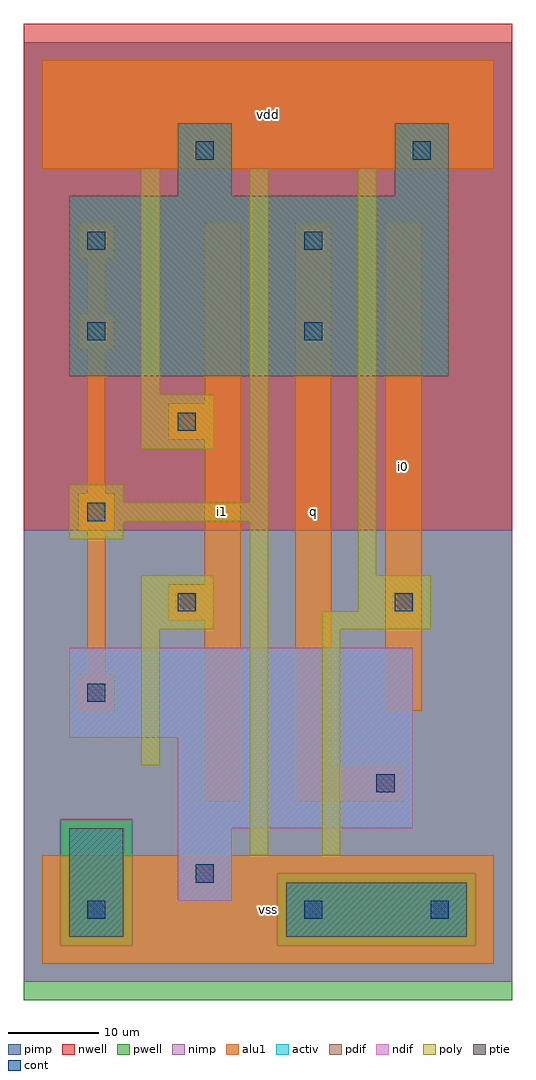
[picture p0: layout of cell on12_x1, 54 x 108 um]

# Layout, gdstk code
import gdstk
lib = gdstk.Library(unit=1e-6, precision=1e-09)
def R(c, l, rs):  # rectangles x0, y0, x1, y1
    for r in rs: c.add(gdstk.rectangle(r[:2], r[2:], *l))
def A(c, l, x, y, w, h, nx, ny, dx, dy):  # array of equal rectangles
    R(c, l, [(x+i*dx, y+j*dy, x+i*dx+w, y+j*dy+h) for i in range(nx) for j in range(ny)])
ndif = (3, 0)
pdif = (4, 0)
ptie = (6, 0)
cont = (25, 0)
pwell = (41, 0)
nwell = (42, 0)
activ = (43, 0)
pimp = (44, 0)
nimp = (45, 0)
poly = (46, 0)
alu1 = (49, 0)

on12_x1 = lib.new_cell('on12_x1')
R(on12_x1, ndif, [(15,7,21,15), (15,15,41,25), (3,25,41,35)])
R(on12_x1, pdif, [(3,65,45,85), (15,85,21,93), (39,85,45,93)])
R(on12_x1, ptie, [(3,3,9,15), (27,3,47,9)])
A(on12_x1, cont, 5, 29, 2, 2, 1, 3, 0, 20)
R(on12_x1, cont, [(5,5,7,7), (29,5,31,7), (43,5,45,7), (17,9,19,11), (37,19,39,21), (15,39,17,41), (39,39,41,41), (15,59,17,61), (29,69,31,71), (5,79,7,81), (29,79,31,81), (17,89,19,91), (41,89,43,91)])
R(on12_x1, pwell, [(-2,-4,52,48)])
R(on12_x1, nwell, [(-2,48,52,104)])
R(on12_x1, activ, [(3,3,9,15), (27,3,47,9), (15,7,21,15), (15,15,41,25), (3,25,41,35), (3,65,45,85), (15,85,21,93), (39,85,45,93)])
R(on12_x1, pimp, [(2,2,10,16), (26,2,48,10), (-2,48,52,102)])
R(on12_x1, nimp, [(-2,-2,52,2), (-2,2,2,16), (10,2,26,10), (48,2,52,10), (10,10,52,16), (-2,16,52,48)])
R(on12_x1, poly, [(23,12,25,49), (31,12,33,37), (11,22,13,37), (11,37,19,43), (31,37,43,39), (35,39,43,43), (35,43,37,88), (3,47,9,49), (3,49,25,51), (3,51,9,53), (23,51,25,88), (11,57,19,63), (11,63,13,88)])
A(on12_x1, alu1, 4, 28, 4, 4, 1, 3, 0, 20)
R(on12_x1, alu1, [(0,0,50,12), (18,18,22,38), (28,18,40,22), (28,22,32,82), (38,28,42,82), (5,32,7,48), (14,38,22,42), (18,42,22,58), (5,52,7,68), (14,58,22,62), (18,62,22,82), (5,72,7,78), (4,78,8,82), (0,88,50,100)])
on12_x1.add(gdstk.Label('i1', (20,50), layer=49, texttype=0))
on12_x1.add(gdstk.Label('vss', (25,6), layer=49, texttype=0))
on12_x1.add(gdstk.Label('q', (30,50), layer=49, texttype=0))
on12_x1.add(gdstk.Label('vdd', (25,94), layer=49, texttype=0))
on12_x1.add(gdstk.Label('i0', (40,55), layer=49, texttype=0))

lib.write_gds('on12_x1.gds')
